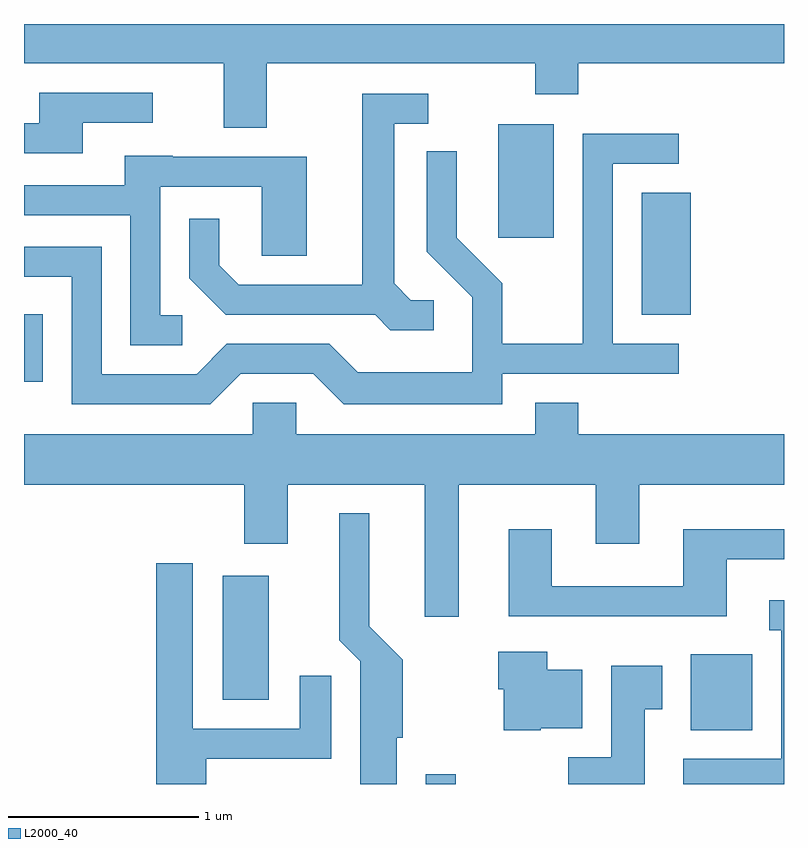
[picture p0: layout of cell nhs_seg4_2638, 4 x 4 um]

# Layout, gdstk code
import gdstk
lib = gdstk.Library(unit=1e-6, precision=1e-09)
def R(c, l, rs):  # rectangles x0, y0, x1, y1
    for r in rs: c.add(gdstk.rectangle(r[:2], r[2:], *l))
def P(c, l, *ps):  # polygons
    for p in ps: c.add(gdstk.Polygon(p, *l))
L2000_40 = (2000, 40)

nhs_seg4_2638 = lib.new_cell('nhs_seg4_2638')
R(nhs_seg4_2638, L2000_40, [(263.726,1361.982,263.884,1362.033), (265.121,1362.266,265.444,1362.664), (262.656,1362.426,262.899,1363.079), (261.611,1364.098,261.709,1364.454), (264.861,1364.451,265.119,1365.094), (264.106,1364.856,264.399,1365.454)])
P(nhs_seg4_2638, L2000_40, [(262.889,1365.776),(264.301,1365.776),(264.301,1365.611),(264.529,1365.611),(264.529,1365.776),(265.611,1365.776),(265.611,1365.982),(261.611,1365.982),(261.611,1365.776),(262.661,1365.776),(262.661,1365.436),(262.889,1365.436)],
  [(261.919,1365.461),(262.288,1365.461),(262.288,1365.619),(261.691,1365.619),(261.691,1365.459),(261.611,1365.459),(261.611,1365.301),(261.919,1365.301)],
  [(263.768,1364.529),(263.647,1364.529),(263.559,1364.617),(263.559,1365.456),(263.738,1365.456),(263.738,1365.614),(263.391,1365.614),(263.391,1364.609),(262.742,1364.609),(262.639,1364.712),(262.639,1364.958),(262.481,1364.958),(262.481,1364.644),(262.674,1364.451),(263.459,1364.451),(263.539,1364.371),(263.768,1364.371)],
  [(262.752,1364.141),(263.134,1364.141),(263.294,1363.981),(264.129,1363.981),(264.129,1364.141),(265.058,1364.141),(265.058,1364.299),(264.709,1364.299),(264.709,1365.246),(265.058,1365.246),(265.058,1365.404),(264.551,1365.404),(264.551,1364.299),(264.129,1364.299),(264.129,1364.617),(263.889,1364.857),(263.889,1365.313),(263.731,1365.313),(263.731,1364.784),(263.971,1364.544),(263.971,1364.149),(263.367,1364.149),(263.217,1364.299),(262.679,1364.299),(262.519,1364.139),(262.019,1364.139),(262.019,1364.809),(261.611,1364.809),(261.611,1364.651),(261.861,1364.651),(261.861,1363.981),(262.592,1363.981)],
  [(262.443,1364.449),(262.329,1364.449),(262.329,1365.126),(262.861,1365.126),(262.861,1364.761),(263.099,1364.761),(263.099,1365.284),(262.395,1365.284),(262.395,1365.289),(262.141,1365.289),(262.141,1365.134),(261.611,1365.134),(261.611,1364.976),(262.171,1364.976),(262.171,1364.291),(262.443,1364.291)],
  [(263.899,1363.556),(264.621,1363.556),(264.621,1363.246),(264.849,1363.246),(264.849,1363.556),(265.611,1363.556),(265.611,1363.824),(264.529,1363.824),(264.529,1363.989),(264.301,1363.989),(264.301,1363.824),(263.044,1363.824),(263.044,1363.989),(262.816,1363.989),(262.816,1363.824),(261.611,1363.824),(261.611,1363.556),(262.771,1363.556),(262.771,1363.246),(262.999,1363.246),(262.999,1363.556),(263.721,1363.556),(263.721,1362.861),(263.899,1362.861)],
  [(263.574,1362.226),(263.604,1362.226),(263.604,1362.637),(263.429,1362.812),(263.429,1363.408),(263.271,1363.408),(263.271,1362.739),(263.381,1362.629),(263.381,1361.982),(263.574,1361.982)],
  [(265.309,1363.166),(265.611,1363.166),(265.611,1363.324),(265.081,1363.324),(265.081,1363.024),(264.389,1363.024),(264.389,1363.324),(264.161,1363.324),(264.161,1362.866),(265.309,1362.866)],
  [(262.569,1362.116),(263.229,1362.116),(263.229,1362.553),(263.061,1362.553),(263.061,1362.274),(262.499,1362.274),(262.499,1363.144),(262.306,1363.144),(262.306,1361.982),(262.569,1361.982)],
  [(265.611,1362.949),(265.533,1362.949),(265.533,1362.791),(265.596,1362.791),(265.596,1362.114),(265.081,1362.114),(265.081,1361.982),(265.611,1361.982)],
  [(264.33,1362.276),(264.549,1362.276),(264.549,1362.584),(264.364,1362.584),(264.364,1362.679),(264.106,1362.679),(264.106,1362.481),(264.136,1362.481),(264.136,1362.266),(264.33,1362.266)],
  [(264.879,1362.376),(264.969,1362.376),(264.969,1362.604),(264.701,1362.604),(264.701,1362.124),(264.476,1362.124),(264.476,1361.982),(264.879,1361.982)])

lib.write_gds('nhs_seg4_2638.gds')
